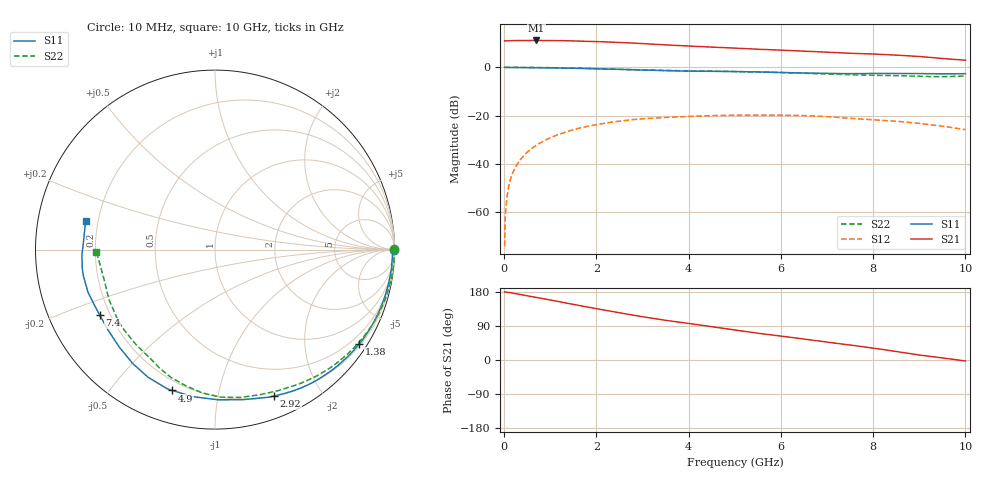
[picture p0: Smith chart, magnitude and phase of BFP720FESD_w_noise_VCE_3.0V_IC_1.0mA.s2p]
! Infineon Technologies  Discrete & RF Semiconductors
! BFP720FESD
! VCE =  3.0 V,  IC =  1.0 mA
! Common Emitter S-Parameters:  Jan 2016
# GHz  S  MA  R  50
!  f  S11  S21  S12  S22
! GHz  MAG  ANG  MAG  ANG  MAG  ANG  MAG  ANG
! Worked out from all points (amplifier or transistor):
!   233 points, 10 MHz to 10 GHz, reference 50 ohm
!   highest |S21| = 11.1 dB at 700 MHz (marker M1)
!   |S21| within 3 dB of that: start of sweep to 4.812 GHz
!   unconditionally stable (mu >= 1): 9.127 GHz to end of sweep
!   at 200 MHz: K = 0.00, MSG = 27.1 dB, |S12| = -43.1 dB
!   at 1.74 GHz: K = 0.08, MSG = 17.7 dB, |S12| = -24.7 dB
!   at 10 GHz: K = 1.46, MAG = 10.3 dB, |S12| = -25.8 dB
!   lowest NFmin = 0.46 dB at 450 MHz
!   S11 on the Smith chart (normalised r, x): 10 MHz: open; 1.38 GHz: 0.25, -3.35; 2.92 GHz: 0.20, -1.46; 4.9 GHz: 0.15, -0.73; 7.4 GHz: 0.16, -0.26; 10 GHz: 0.15, +0.11
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0.01  0.999 0.0  3.53 179.6  0.0002 -125.0  0.9979 0.1
0.015  0.9939 -0.1  3.52 179.7  0.0003 101.6  0.9987 -0.1
0.02  0.9889 -0.3  3.51 179.9  0.0007 89.6  0.9995 -0.3
0.04  0.9896 -0.9  3.516 179.2  0.0013 87.7  0.9994 -0.7
0.07  0.9894 -1.7  3.529 178.7  0.0024 88.4  0.9994 -1.3
0.135  0.9881 -3.3  3.554 177.5  0.0048 87.8  0.9994 -2.5
0.34  0.9868 -8.1  3.576 173.0  0.0119 83.7  0.9979 -6.4
0.7  0.9812 -16.7  3.588 165.1  0.0245 77.0  0.9914 -13.2
1.38  0.9598 -33.1  3.532 149.5  0.0474 63.5  0.9684 -26.6
1.68  0.9471 -40.2  3.483 142.6  0.0565 57.3  0.9543 -32.5
2.38  0.9132 -56.0  3.307 127.2  0.0745 43.8  0.9178 -46.3
2.92  0.8796 -68.1  3.125 115.8  0.0848 33.5  0.8864 -56.7
3.4  0.8534 -77.6  2.942 106.7  0.0905 25.7  0.8636 -64.5
4.5  0.8286 -98.8  2.629 87.9  0.1005 10.4  0.8357 -80.3
4.9  0.8199 -106.8  2.519 80.9  0.1021 4.5  0.8238 -86.4
5.1  0.8154 -110.5  2.467 77.5  0.1026 1.7  0.8172 -89.3
6  0.783 -125.8  2.263 63.1  0.1023 -10.6  0.777 -101.8
6.8  0.7496 -139.7  2.096 50.3  0.0972 -21.5  0.7378 -112.6
7.4  0.7388 -150.5  1.967 41.1  0.0894 -28.6  0.7083 -119.9
8.4  0.7477 -168.6  1.807 24.3  0.078 -37.9  0.6752 -139.4
9  0.7416 -178.0  1.672 13.1  0.0692 -44.6  0.6532 -154.8
10  0.7383 167.7  1.399 -2.6  0.0514 -50.9  0.6604 -178.8
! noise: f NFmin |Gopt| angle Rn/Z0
0.45  0.46  0.85  5  0.47
2.4  0.87  0.66  37  0.43
5.5  1.17  0.64  105  0.24
10  2.33  0.52  -167  0.14
